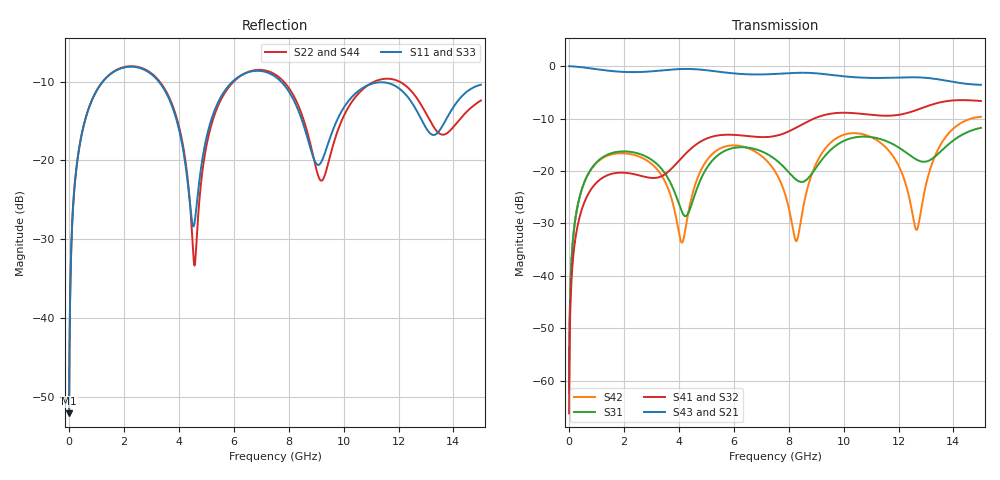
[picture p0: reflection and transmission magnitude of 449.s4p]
! Created with skrf 1.8.0 (http://scikit-rf.org).
# GHz S RI R 50.0
!freq ReS11 ImS11 ReS12 ImS12 ReS13 ImS13
! ReS14 ImS14
! ReS21 ImS21 ReS22 ImS22 ReS23 ImS23
! ReS24 ImS24
! ReS31 ImS31 ReS32 ImS32 ReS33 ImS33
! ReS34 ImS34
! ReS41 ImS41 ReS42 ImS42 ReS43 ImS43
! ReS44 ImS44
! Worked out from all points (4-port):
!   2499 points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, 5 MHz to 15 GHz, reference 50 ohm
!   strongest paths, dB at 5 MHz, 3.476 GHz, 7.19 GHz, 11.1 GHz, 15 GHz:
!     S43: 0.0, -0.8, -1.6, -2.3, -3.6
!     S21: 0.0, -0.8, -1.6, -2.3, -3.6
!     S41: -66.2, -20.7, -13.5, -9.3, -6.7
!     S32: -66.2, -20.7, -13.5, -9.4, -6.7
!     S31: -62.4, -20.3, -16.7, -13.6, -11.8
!     S42: -62.4, -21.8, -18.0, -13.8, -9.7
!   lowest |S11| = -52.1 dB at 5 MHz (marker M1), VSWR 1.00, Z = 50.2 + j0.151 ohm
!   |S11| at or under -10 dB: start of sweep to 1.231 GHz; 3.274 GHz to 5.954 GHz (2.68 GHz wide, 58.1 % of centre); 7.727 GHz to end of sweep
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0.005  0.00197 0.0015  0.998 -0.00383  9.93e-05 0.000756  -9.64e-05 -0.000479
       0.998 -0.00383  0.00197 0.0015  -9.64e-05 -0.000479  9.91e-05 0.000756
       9.93e-05 0.000756  -9.64e-05 -0.000479  0.00197 0.0015  0.998 -0.00383
       -9.64e-05 -0.000479  9.91e-05 0.000756  0.998 -0.00383  0.00197 0.0015
0.3126303  0.0327 0.0969  0.955 -0.2366  0.0155 0.0436  -0.0125 -0.0271
           0.955 -0.2366  0.0329 0.0969  -0.0125 -0.0271  0.0145 0.0439
           0.0155 0.0436  -0.0125 -0.0271  0.0327 0.0969  0.955 -0.2366
           -0.0125 -0.0271  0.0145 0.0439  0.955 -0.2366  0.0329 0.0969
1.3193  0.2774 0.1775  0.5329 -0.7385  0.1302 0.0501  -0.0889 -0.00388
        0.5329 -0.7385  0.2805 0.1754  -0.0889 -0.00387  0.1212 0.0629
        0.1302 0.0501  -0.0889 -0.00387  0.2774 0.1774  0.5329 -0.7385
        -0.0889 -0.00388  0.1212 0.0629  0.5329 -0.7385  0.2804 0.1754
4.445602  0.0389 -0.0238  -0.9283 -0.1306  -0.0307 0.0347  -0.0198 0.1623
          -0.9283 -0.1306  0.0228 -0.0363  -0.0196 0.1623  0.0249 0.0472
          -0.0307 0.0347  -0.0196 0.1623  0.0398 -0.0239  -0.9282 -0.1309
          -0.0198 0.1623  0.0249 0.0472  -0.9282 -0.1309  0.0219 -0.0366
9.128804  0.0946 0.00227  0.8393 0.1161  -0.0351 0.1147  0.0389 -0.3288
          0.8393 0.1161  0.0729 -0.0216  0.0385 -0.3285  0.018 0.135
          -0.0351 0.1147  0.0385 -0.3285  0.0948 0.00676  0.8395 0.1153
          0.0389 -0.3288  0.018 0.135  0.8395 0.1153  0.0713 -0.0169
11.91747  0.2879 -0.064  -0.0804 -0.7725  0.073 -0.1568  -0.3308 0.0798
          -0.0804 -0.7725  0.3162 -0.0664  -0.3305 0.0801  0.0906 -0.0843
          0.073 -0.1568  -0.3305 0.0801  0.2884 -0.0649  -0.0788 -0.7726
          -0.3308 0.0798  0.0906 -0.0843  -0.0788 -0.7726  0.3168 -0.0637
15  0.3028 0.00827  -0.5545 0.3636  0.2228 0.1296  0.3319 0.325
    -0.5545 0.3636  0.2398 0.0157  0.3316 0.3231  0.2938 0.1464
    0.2228 0.1296  0.3316 0.3231  0.3073 0.00833  -0.5553 0.3612
    0.3319 0.325  0.2938 0.1464  -0.5553 0.3612  0.2382 0.0216
